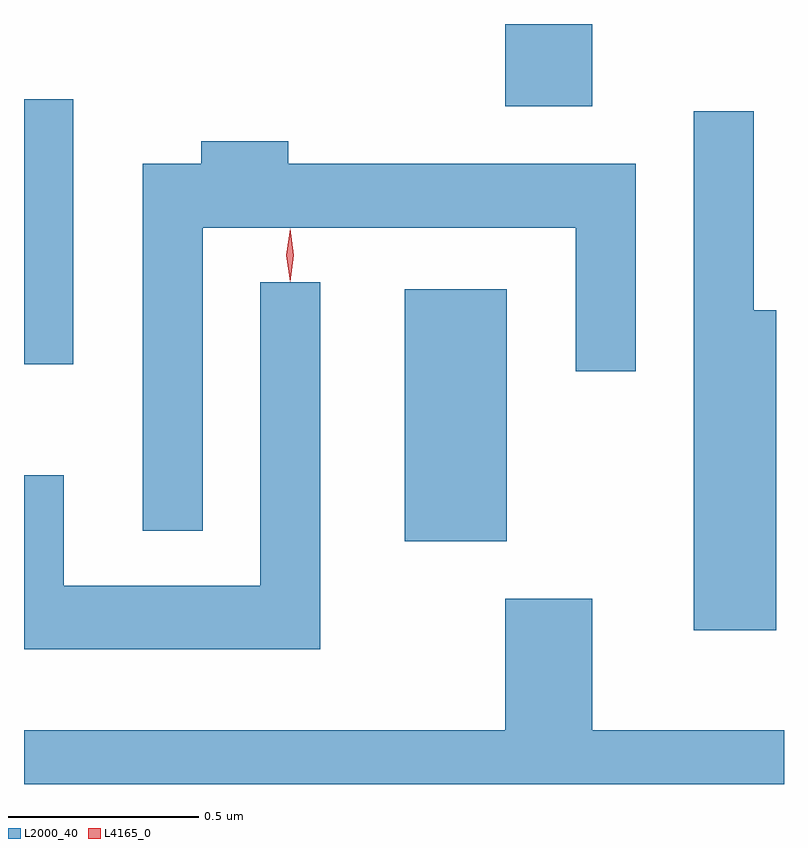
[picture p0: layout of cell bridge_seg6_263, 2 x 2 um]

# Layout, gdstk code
import gdstk
lib = gdstk.Library(unit=1e-6, precision=1e-09)
def R(c, l, rs):  # rectangles x0, y0, x1, y1
    for r in rs: c.add(gdstk.rectangle(r[:2], r[2:], *l))
def P(c, l, *ps):  # polygons
    for p in ps: c.add(gdstk.Polygon(p, *l))
L2000_40 = (2000, 40)
L4165_0 = (4165, 0)

bridge_seg6_263 = lib.new_cell('bridge_seg6_263')
R(bridge_seg6_263, L2000_40, [(1418.866,1573.001,1419.134,1573.664), (1417.864,1573.466,1417.994,1574.164), (1419.131,1574.146,1419.359,1574.362)])
P(bridge_seg6_263, L2000_40, [(1419.844,1573.609),(1419.784,1573.609),(1419.784,1574.133),(1419.626,1574.133),(1419.626,1572.766),(1419.844,1572.766)],
  [(1418.334,1573.826),(1419.316,1573.826),(1419.316,1573.448),(1419.474,1573.448),(1419.474,1573.994),(1418.559,1573.994),(1418.559,1574.054),(1418.331,1574.054),(1418.331,1573.994),(1418.176,1573.994),(1418.176,1573.028),(1418.334,1573.028)],
  [(1418.644,1573.683),(1418.486,1573.683),(1418.486,1572.884),(1417.969,1572.884),(1417.969,1573.174),(1417.864,1573.174),(1417.864,1572.716),(1418.644,1572.716)],
  [(1419.864,1572.504),(1419.359,1572.504),(1419.359,1572.849),(1419.131,1572.849),(1419.131,1572.504),(1417.864,1572.504),(1417.864,1572.362),(1419.864,1572.362)])
P(bridge_seg6_263, L4165_0, [(1418.564,1573.684),(1418.564,1573.684),(1418.554,1573.753),(1418.564,1573.823),(1418.564,1573.823),(1418.565,1573.823),(1418.574,1573.753),(1418.565,1573.684)],
  [(1418.564,1573.687),(1418.564,1573.687),(1418.554,1573.754),(1418.564,1573.82),(1418.564,1573.821),(1418.565,1573.82),(1418.574,1573.754),(1418.565,1573.687)])

lib.write_gds('bridge_seg6_263.gds')
